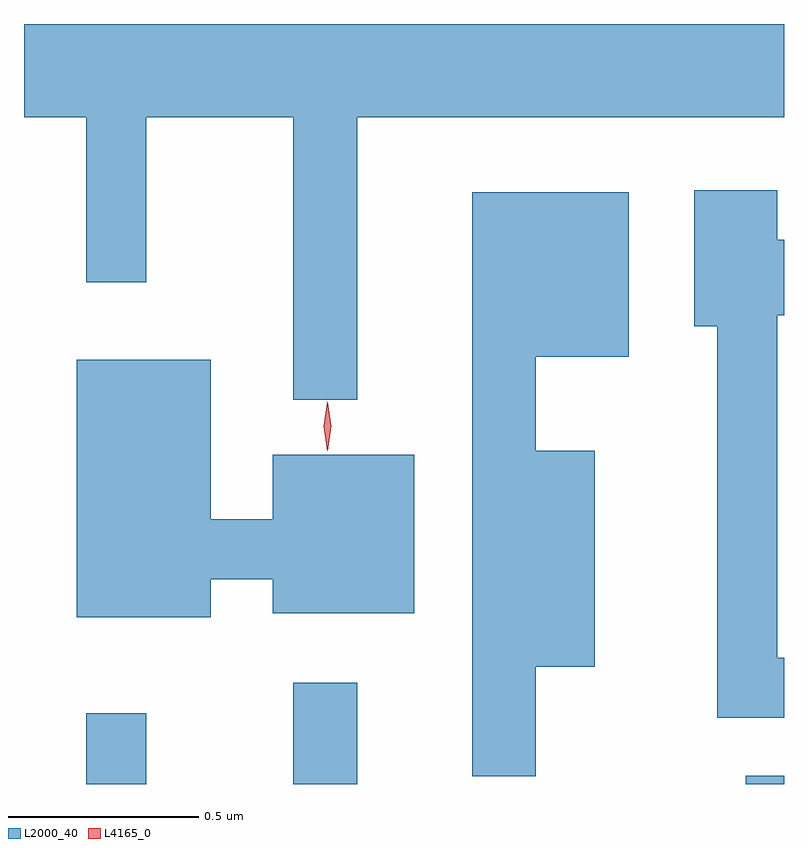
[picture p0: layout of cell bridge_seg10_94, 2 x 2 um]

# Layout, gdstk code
import gdstk
lib = gdstk.Library(unit=1e-6, precision=1e-09)
def R(c, l, rs):  # rectangles x0, y0, x1, y1
    for r in rs: c.add(gdstk.rectangle(r[:2], r[2:], *l))
def P(c, l, *ps):  # polygons
    for p in ps: c.add(gdstk.Polygon(p, *l))
L2000_40 = (2000, 40)
L4165_0 = (4165, 0)

bridge_seg10_94 = lib.new_cell('bridge_seg10_94')
R(bridge_seg10_94, L2000_40, [(1522.756,2205.402,1522.914,2205.588), (1523.301,2205.402,1523.469,2205.668), (1524.491,2205.402,1524.592,2205.424)])
P(bridge_seg10_94, L2000_40, [(1523.469,2207.156),(1524.592,2207.156),(1524.592,2207.402),(1522.592,2207.402),(1522.592,2207.156),(1522.756,2207.156),(1522.756,2206.723),(1522.914,2206.723),(1522.914,2207.156),(1523.301,2207.156),(1523.301,2206.413),(1523.469,2206.413)],
  [(1524.592,2205.734),(1524.574,2205.734),(1524.574,2206.636),(1524.592,2206.636),(1524.592,2206.834),(1524.574,2206.834),(1524.574,2206.964),(1524.356,2206.964),(1524.356,2206.606),(1524.416,2206.606),(1524.416,2205.576),(1524.592,2205.576)],
  [(1523.939,2205.711),(1524.094,2205.711),(1524.094,2206.279),(1523.939,2206.279),(1523.939,2206.526),(1524.184,2206.526),(1524.184,2206.959),(1523.771,2206.959),(1523.771,2205.423),(1523.939,2205.423)],
  [(1523.084,2205.941),(1523.246,2205.941),(1523.246,2205.851),(1523.619,2205.851),(1523.619,2206.269),(1523.246,2206.269),(1523.246,2206.099),(1523.084,2206.099),(1523.084,2206.519),(1522.731,2206.519),(1522.731,2205.841),(1523.084,2205.841)])
P(bridge_seg10_94, L4165_0, [(1523.39,2206.279),(1523.381,2206.343),(1523.39,2206.407),(1523.39,2206.408),(1523.391,2206.407),(1523.4,2206.343),(1523.391,2206.279),(1523.391,2206.279)])

lib.write_gds('bridge_seg10_94.gds')
